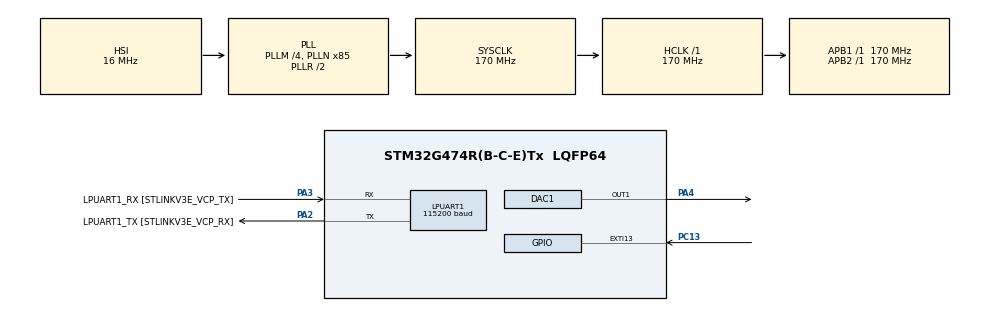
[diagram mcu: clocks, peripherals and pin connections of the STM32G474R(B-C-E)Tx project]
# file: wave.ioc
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LPUART1.BaudRate=115200
Mcu.Family=STM32G4
Mcu.Name=STM32G474R(B-C-E)Tx
Mcu.Package=LQFP64
NVIC.EXTI15_10_IRQn=true\:0\:0\:false\:false\:true\:true\:true\:true
NVIC.PriorityGroup=NVIC_PRIORITYGROUP_4
NVIC.TIM6_DAC_IRQn=true\:0\:0\:false\:false\:true\:true\:true\:true
PA13.GPIO_Label=T_SWDIO
PA13.Signal=SYS_JTMS-SWDIO
PA14.GPIO_Label=T_SWCLK
PA14.Signal=SYS_JTCK-SWCLK
PA2.GPIO_Label=LPUART1_TX [STLINKV3E_VCP_RX]
PA2.Mode=Asynchronous
PA2.Signal=LPUART1_TX
PA3.GPIO_Label=LPUART1_RX [STLINKV3E_VCP_TX]
PA3.Mode=Asynchronous
PA3.Signal=LPUART1_RX
PA4.Signal=COMP_DAC11_group
PB3.GPIO_Label=T_SWO
PB3.Signal=SYS_JTDO-SWO
PC13.GPIO_ModeDefaultEXTI=GPIO_MODE_IT_FALLING
PC13.Signal=GPXTI13
PC14-OSC32_IN.GPIO_Label=RCC_OSC32_IN
PC14-OSC32_IN.Signal=RCC_OSC32_IN
PC15-OSC32_OUT.GPIO_Label=RCC_OSC32_OUT
PC15-OSC32_OUT.Signal=RCC_OSC32_OUT
PF0-OSC_IN.GPIO_Label=RCC_OSC_IN
PF0-OSC_IN.Signal=RCC_OSC_IN
PF1-OSC_OUT.GPIO_Label=RCC_OSC_OUT
PF1-OSC_OUT.Signal=RCC_OSC_OUT
ProjectManager.HeapSize=0x200
ProjectManager.StackSize=0x400
ProjectManager.TargetToolchain=STM32CubeIDE
RCC.ADC12Freq_Value=170000000
RCC.ADC345Freq_Value=170000000
RCC.AHBFreq_Value=170000000
RCC.APB1Freq_Value=170000000
RCC.APB1TimFreq_Value=170000000
RCC.APB2Freq_Value=170000000
RCC.APB2TimFreq_Value=170000000
RCC.CortexFreq_Value=170000000
RCC.EXTERNAL_CLOCK_VALUE=12288000
RCC.HCLKFreq_Value=170000000
RCC.HSE_VALUE=24000000
RCC.HSI48_VALUE=48000000
RCC.HSI_VALUE=16000000
RCC.LSE_VALUE=32768
RCC.PLLM=RCC_PLLM_DIV4
RCC.PLLN=85
RCC.RTCClockSelection=RCC_RTCCLKSOURCE_LSE
RCC.SYSCLKFreq_VALUE=170000000
RCC.SYSCLKSource=RCC_SYSCLKSOURCE_PLLCLK
RCC.USBFreq_Value=170000000
RCC.VCOOutputFreq_Value=340000000
SH.COMP_DAC11_group.0=DAC1_OUT1,DAC_OUT1
TIM6.PeriodNoDither=199
TIM6.Prescaler=169
VP_SYS_VS_DBSignals.Mode=DisableDeadBatterySignals
VP_TIM6_VS_ClockSourceINT.Mode=Enable_Timer
board=NUCLEO-G474RE

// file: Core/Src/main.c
/* USER CODE BEGIN Header */
/**
  ******************************************************************************
  * @file           : main.c
  * @brief          : Main program body
  ******************************************************************************
  * @attention
  *
  * Copyright (c) 2026 STMicroelectronics.
  * All rights reserved.
  *
  * This software is licensed under terms that can be found in the LICENSE file
  * in the root directory of this software component.
  * If no LICENSE file comes with this software, it is provided AS-IS.
  *
  ******************************************************************************
  */
/* USER CODE END Header */
#include "main.h"

/* USER CODE BEGIN Includes */
#include <math.h>
/* USER CODE END Includes */

DAC_HandleTypeDef hdac1;

UART_HandleTypeDef hlpuart1;

TIM_HandleTypeDef htim6;

/* USER CODE BEGIN PV */
uint16_t sine_table[100];
uint16_t square_table[100];
uint16_t triangle_table[100];

uint8_t wave_index = 0;
uint8_t wave_mode = 0;  // 0:正弦波, 1:三角波, 2:方波
/* USER CODE END PV */

void SystemClock_Config(void);
static void MX_GPIO_Init(void);
static void MX_DAC1_Init(void);
static void MX_TIM6_Init(void);
static void MX_LPUART1_UART_Init(void);

int main(void)
{

  /* MCU Configuration--------------------------------------------------------*/

  /* Reset of all peripherals, Initializes the Flash interface and the Systick. */
  HAL_Init();

  /* Configure the system clock */
  SystemClock_Config();

  /* Initialize all configured peripherals */
  MX_GPIO_Init();
  MX_DAC1_Init();
  MX_TIM6_Init();
  MX_LPUART1_UART_Init();
  /* USER CODE BEGIN 2 */
  // 1. 準備正弦波
  for (int i=0; i<100; i++) {
      sine_table[i] = (uint16_t)(2048 + 1800 * sinf(2 * 3.14159f * i / 100));
  }

  // 2. 準備方波
  for (int i = 0; i < 100; i++) {
      if (i < 50) square_table[i] = 3848;
      else square_table[i] = 248;
  }

  // 3. 準備三角波
  for (int i = 0; i < 100; i++) {
      if (i < 25) triangle_table[i] = 2048 + 72 * i;
      else if (i < 75) triangle_table[i] = 3848 - 72 * (i - 25);
      else triangle_table[i] = 248 + 72 * (i - 75);
  }

  // 啟動 DAC 與 Timer 中斷
  HAL_DAC_Start(&hdac1, DAC_CHANNEL_1);
  HAL_TIM_Base_Start_IT(&htim6);
  /* USER CODE END 2 */

  /* Infinite loop */
  while (1)
  {

  }
}

void SystemClock_Config(void)
{
  RCC_OscInitTypeDef RCC_OscInitStruct = {0};
  RCC_ClkInitTypeDef RCC_ClkInitStruct = {0};

  /** Configure the main internal regulator output voltage
  */
  HAL_PWREx_ControlVoltageScaling(PWR_REGULATOR_VOLTAGE_SCALE1_BOOST);

  /** Initializes the RCC Oscillators according to the specified parameters
  * in the RCC_OscInitTypeDef structure.
  */
  RCC_OscInitStruct.OscillatorType = RCC_OSCILLATORTYPE_HSI;
  RCC_OscInitStruct.HSIState = RCC_HSI_ON;
  RCC_OscInitStruct.HSICalibrationValue = RCC_HSICALIBRATION_DEFAULT;
  RCC_OscInitStruct.PLL.PLLState = RCC_PLL_ON;
  RCC_OscInitStruct.PLL.PLLSource = RCC_PLLSOURCE_HSI;
  RCC_OscInitStruct.PLL.PLLM = RCC_PLLM_DIV4;
  RCC_OscInitStruct.PLL.PLLN = 85;
  RCC_OscInitStruct.PLL.PLLP = RCC_PLLP_DIV2;
  RCC_OscInitStruct.PLL.PLLQ = RCC_PLLQ_DIV2;
  RCC_OscInitStruct.PLL.PLLR = RCC_PLLR_DIV2;
  if (HAL_RCC_OscConfig(&RCC_OscInitStruct) != HAL_OK)
  {
    Error_Handler();
  }

  /** Initializes the CPU, AHB and APB buses clocks
  */
  RCC_ClkInitStruct.ClockType = RCC_CLOCKTYPE_HCLK|RCC_CLOCKTYPE_SYSCLK
                              |RCC_CLOCKTYPE_PCLK1|RCC_CLOCKTYPE_PCLK2;
  RCC_ClkInitStruct.SYSCLKSource = RCC_SYSCLKSOURCE_PLLCLK;
  RCC_ClkInitStruct.AHBCLKDivider = RCC_SYSCLK_DIV1;
  RCC_ClkInitStruct.APB1CLKDivider = RCC_HCLK_DIV1;
  RCC_ClkInitStruct.APB2CLKDivider = RCC_HCLK_DIV1;

  if (HAL_RCC_ClockConfig(&RCC_ClkInitStruct, FLASH_LATENCY_4) != HAL_OK)
  {
    Error_Handler();
  }
}

static void MX_DAC1_Init(void)
{

  DAC_ChannelConfTypeDef sConfig = {0};

  /** DAC Initialization
  */
  hdac1.Instance = DAC1;
  if (HAL_DAC_Init(&hdac1) != HAL_OK)
  {
    Error_Handler();
  }

  /** DAC channel OUT1 config
  */
  sConfig.DAC_HighFrequency = DAC_HIGH_FREQUENCY_INTERFACE_MODE_AUTOMATIC;
  sConfig.DAC_DMADoubleDataMode = DISABLE;
  sConfig.DAC_SignedFormat = DISABLE;
  sConfig.DAC_SampleAndHold = DAC_SAMPLEANDHOLD_DISABLE;
  sConfig.DAC_Trigger = DAC_TRIGGER_NONE;
  sConfig.DAC_Trigger2 = DAC_TRIGGER_NONE;
  sConfig.DAC_OutputBuffer = DAC_OUTPUTBUFFER_ENABLE;
  sConfig.DAC_ConnectOnChipPeripheral = DAC_CHIPCONNECT_EXTERNAL;
  sConfig.DAC_UserTrimming = DAC_TRIMMING_FACTORY;
  if (HAL_DAC_ConfigChannel(&hdac1, &sConfig, DAC_CHANNEL_1) != HAL_OK)
  {
    Error_Handler();
  }

}

static void MX_LPUART1_UART_Init(void)
{

  hlpuart1.Instance = LPUART1;
  hlpuart1.Init.BaudRate = 115200;
  hlpuart1.Init.WordLength = UART_WORDLENGTH_8B;
  hlpuart1.Init.StopBits = UART_STOPBITS_1;
  hlpuart1.Init.Parity = UART_PARITY_NONE;
  hlpuart1.Init.Mode = UART_MODE_TX_RX;
  hlpuart1.Init.HwFlowCtl = UART_HWCONTROL_NONE;
  hlpuart1.Init.OneBitSampling = UART_ONE_BIT_SAMPLE_DISABLE;
  hlpuart1.Init.ClockPrescaler = UART_PRESCALER_DIV1;
  hlpuart1.AdvancedInit.AdvFeatureInit = UART_ADVFEATURE_NO_INIT;
  if (HAL_UART_Init(&hlpuart1) != HAL_OK)
  {
    Error_Handler();
  }
  if (HAL_UARTEx_SetTxFifoThreshold(&hlpuart1, UART_TXFIFO_THRESHOLD_1_8) != HAL_OK)
  {
    Error_Handler();
  }
  if (HAL_UARTEx_SetRxFifoThreshold(&hlpuart1, UART_RXFIFO_THRESHOLD_1_8) != HAL_OK)
  {
    Error_Handler();
  }
  if (HAL_UARTEx_DisableFifoMode(&hlpuart1) != HAL_OK)
  {
    Error_Handler();
  }

}

static void MX_TIM6_Init(void)
{

  TIM_MasterConfigTypeDef sMasterConfig = {0};

  htim6.Instance = TIM6;
  htim6.Init.Prescaler = 169;
  htim6.Init.CounterMode = TIM_COUNTERMODE_UP;
  htim6.Init.Period = 199;
  htim6.Init.AutoReloadPreload = TIM_AUTORELOAD_PRELOAD_DISABLE;
  if (HAL_TIM_Base_Init(&htim6) != HAL_OK)
  {
    Error_Handler();
  }
  sMasterConfig.MasterOutputTrigger = TIM_TRGO_RESET;
  sMasterConfig.MasterSlaveMode = TIM_MASTERSLAVEMODE_DISABLE;
  if (HAL_TIMEx_MasterConfigSynchronization(&htim6, &sMasterConfig) != HAL_OK)
  {
    Error_Handler();
  }

}

static void MX_GPIO_Init(void)
{
  GPIO_InitTypeDef GPIO_InitStruct = {0};

  /* GPIO Ports Clock Enable */
  __HAL_RCC_GPIOC_CLK_ENABLE();
  __HAL_RCC_GPIOF_CLK_ENABLE();
  __HAL_RCC_GPIOA_CLK_ENABLE();
  __HAL_RCC_GPIOB_CLK_ENABLE();

  /*Configure GPIO pin : PC13 */
  GPIO_InitStruct.Pin = GPIO_PIN_13;
  GPIO_InitStruct.Mode = GPIO_MODE_IT_FALLING;
  GPIO_InitStruct.Pull = GPIO_NOPULL;
  HAL_GPIO_Init(GPIOC, &GPIO_InitStruct);

  /* EXTI interrupt init*/
  HAL_NVIC_SetPriority(EXTI15_10_IRQn, 0, 0);
  HAL_NVIC_EnableIRQ(EXTI15_10_IRQn);

}

/* USER CODE BEGIN 4 */
// --- 處理波形輸出的 Timer 中斷 ---
void HAL_TIM_PeriodElapsedCallback(TIM_HandleTypeDef *htim) {
    if (htim->Instance == TIM6) {
        uint16_t current_val = 2048; // 預設中心值

        // 根據目前的波形模式，選擇要輸出哪一個陣列的值
        if (wave_mode == 0) {
            current_val = sine_table[wave_index];
        } else if (wave_mode == 1) {
            current_val = triangle_table[wave_index];
        } else if (wave_mode == 2) {
            current_val = square_table[wave_index];
        }

        // 將選定的數值送到 DAC
        HAL_DAC_SetValue(&hdac1, DAC_CHANNEL_1, DAC_ALIGN_12B_R, current_val);

        // 準備下一個點
        wave_index++;
        if (wave_index >= 100) {
            wave_index = 0;
        }
    }
}

// --- 處理按鈕切換的外部中斷 (EXTI) ---
void HAL_GPIO_EXTI_Callback(uint16_t GPIO_Pin) {
    // 判斷是否為 USER 按鈕 (NUCLEO 板子的 USER 鍵對應 PC13)
    if (GPIO_Pin == GPIO_PIN_13) {
        wave_mode++;
        // 若超過 2，則歸零回到正弦波 (正弦->三角->方波->正弦循環)
        if (wave_mode > 2) {
            wave_mode = 0;
        }
    }
}
/* USER CODE END 4 */

void Error_Handler(void)
{
  __disable_irq();
  while (1)
  {
  }
}
